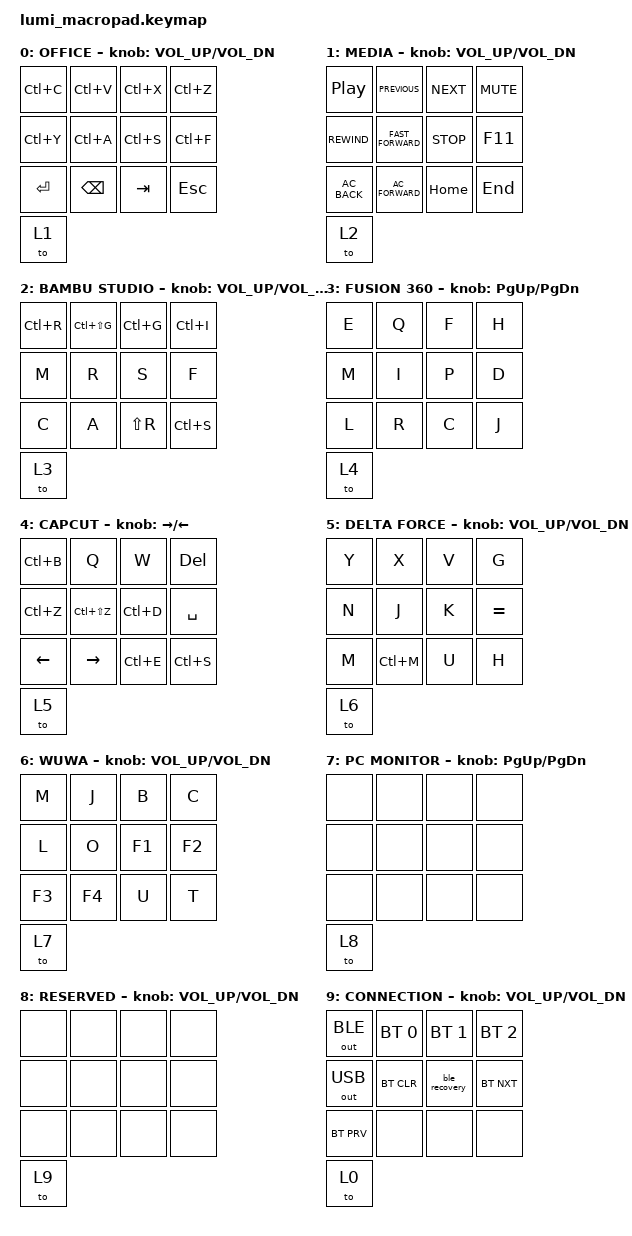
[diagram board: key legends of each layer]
#include <behaviors.dtsi>
#include <dt-bindings/zmk/keys.h>
#include <dt-bindings/zmk/bt.h>
#include <dt-bindings/zmk/outputs.h>

/ {
    behaviors {
        lumi_rgb: lumi_rgb {
            compatible = "zmk,behavior-lumi-rgb";
            #binding-cells = <1>;
            display-name = "Lumi RGB";
        };

        lumi_action: lumi_action {
            compatible = "zmk,behavior-lumi-action";
            #binding-cells = <1>;
            display-name = "Lumi Action";
        };

        /* Hard recovery for stale/corrupt host bonds:
         * clear every keyboard-side BLE bond, select host slot 0, then prefer BLE.
         */
        ble_recovery: ble_recovery {
            compatible = "zmk,behavior-macro";
            #binding-cells = <0>;
            wait-ms = <40>;
            tap-ms = <40>;
            bindings = <&bt BT_CLR_ALL>,
                       <&bt BT_SEL 0>,
                       <&out OUT_BLE>;
        };
    };

    // Hold physical key 1 + key 12 together to unlock ZMK Studio.
    combos {
        compatible = "zmk,combos";

        studio_unlock_combo {
            timeout-ms = <80>;
            key-positions = <0 11>;
            bindings = <&studio_unlock>;
        };

        /* Hold K2 + K3 + K10 + K11 together to recover Bluetooth from any
         * profile, including when the PC-side pairing list has already been wiped.
         */
        ble_recovery_combo {
            timeout-ms = <150>;
            key-positions = <1 2 9 10>;
            bindings = <&ble_recovery>;
        };
    };

    keymap {
        compatible = "zmk,keymap";

        office { // Profile 1
            display-name = "OFFICE";
            bindings = <
                &kp LC(C)      &kp LC(V)      &kp LC(X)      &kp LC(Z)
                &kp LC(Y)      &kp LC(A)      &kp LC(S)      &kp LC(F)
                &kp ENTER      &kp BACKSPACE  &kp TAB        &kp ESC
                &to 1
            >;
            sensor-bindings = <&inc_dec_kp C_VOL_UP C_VOL_DN>;
        };

        media { // Profile 2
            display-name = "MEDIA";
            bindings = <
                &kp C_PLAY_PAUSE   &kp C_PREVIOUS      &kp C_NEXT         &kp C_MUTE
                &kp C_REWIND       &kp C_FAST_FORWARD  &kp C_STOP         &kp F11
                &kp C_AC_BACK      &kp C_AC_FORWARD    &kp HOME           &kp END
                &to 2
            >;
            // Encoder handles volume, so no volume buttons are wasted on the 12-key grid.
            sensor-bindings = <&inc_dec_kp C_VOL_UP C_VOL_DN>;
        };

        bambu { // Profile 3
            display-name = "BAMBU STUDIO";
            bindings = <
                &kp LC(R)       &kp LC(LS(G))  &kp LC(G)      &kp LC(I)
                &kp M           &kp R           &kp S          &kp F
                &kp C           &kp A           &kp LS(R)      &kp LC(S)
                &to 3
            >;
            sensor-bindings = <&inc_dec_kp C_VOL_UP C_VOL_DN>;
        };

        fusion360 { // Profile 4
            display-name = "FUSION 360";
            bindings = <
                &kp E  &kp Q  &kp F  &kp H
                &kp M  &kp I  &kp P  &kp D
                &kp L  &kp R  &kp C  &kp J
                &to 4
            >;
            sensor-bindings = <&inc_dec_kp PG_UP PG_DN>;
        };

        capcut { // Profile 5
            display-name = "CAPCUT";
            bindings = <
                &kp LC(B)      &kp Q          &kp W          &kp DELETE
                &kp LC(Z)      &kp LC(LS(Z))  &kp LC(D)      &kp SPACE
                &kp LEFT       &kp RIGHT      &kp LC(E)      &kp LC(S)
                &to 5
            >;
            // Encoder scrubs one frame at a time.
            sensor-bindings = <&inc_dec_kp RIGHT LEFT>;
        };

        delta_force { // Profile 6
            display-name = "DELTA FORCE";
            bindings = <
                &kp Y       &kp X       &kp V       &kp G
                &kp N       &kp J       &kp K       &kp EQUAL
                &kp M       &kp LC(M)   &kp U       &kp H
                &to 6
            >;
            sensor-bindings = <&inc_dec_kp C_VOL_UP C_VOL_DN>;
        };

        wuwa { // Profile 7
            display-name = "WUWA";
            bindings = <
                &kp M   &kp J   &kp B   &kp C
                &kp L   &kp O   &kp F1  &kp F2
                &kp F3  &kp F4  &kp U   &kp T
                &to 7
            >;
            sensor-bindings = <&inc_dec_kp C_VOL_UP C_VOL_DN>;
        };

        pcmonitor { // Profile 8 - telemetry page
            display-name = "PC MONITOR";
            bindings = <
                &none &none &none &none
                &none &none &none &none
                &none &none &none &none
                &to 8
            >;
            sensor-bindings = <&inc_dec_kp PG_UP PG_DN>;
        };

        reserved9 { // Profile 9 - reserved
            display-name = "RESERVED";
            bindings = <
                &none &none &none &none
                &none &none &none &none
                &none &none &none &none
                &to 9
            >;
            sensor-bindings = <&inc_dec_kp C_VOL_UP C_VOL_DN>;
        };

        connection { // Profile 10 - wireless/USB connection controls
            display-name = "CONNECTION";
            bindings = <
                &out OUT_BLE  &bt BT_SEL 0  &bt BT_SEL 1  &bt BT_SEL 2
                &out OUT_USB  &bt BT_CLR     &ble_recovery  &bt BT_NXT
                &bt BT_PRV    &none          &none          &none
                &to 0
            >;
            sensor-bindings = <&inc_dec_kp C_VOL_UP C_VOL_DN>;
        };
    };
};
